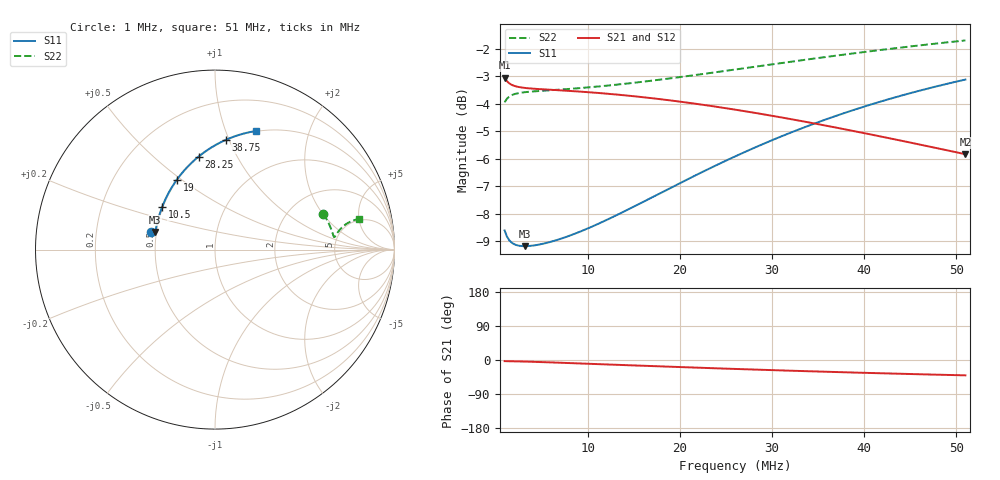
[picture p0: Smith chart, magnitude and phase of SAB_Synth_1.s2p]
# MHz S RI R 50
! S-Parameters data
! Freq  reS11  imS11  reS21  imS21  reS12  imS12  reS22  imS22
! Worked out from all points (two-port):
!   201 points, 1 MHz to 51 MHz, reference 50 ohm
!   highest |S21| = -3.05 dB at 1 MHz (marker M1); lowest = -5.8 dB at 51 MHz (marker M2)
!   |S21| within 3 dB of the highest: start of sweep to end of sweep
!   lowest |S11| = -9.2 dB at 3.25 MHz (marker M3), VSWR 2.07, Z = 24.6 + j5.52 ohm
!   |S11| at or under -10 dB: nowhere
!   |S22| runs from -3.9 to -1.7 dB; largest |S21 - S12| = 0
!   S11 on the Smith chart (normalised r, x): 1 MHz: 0.46, +0.11; 10.5 MHz: 0.49, +0.27; 19 MHz: 0.49, +0.48; 28.25 MHz: 0.50, +0.71; 38.75 MHz: 0.50, +0.97; 51 MHz: 0.50, +1.28
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1  -0.3581 0.099  0.7029 -0.0371  0.7029 -0.0371  0.6032 0.1985
1.25  -0.3504 0.0919  0.6927 -0.0388  0.6927 -0.0388  0.6223 0.168
1.5  -0.3456 0.0881  0.6864 -0.0396  0.6864 -0.0396  0.6338 0.146
1.75  -0.3424 0.0866  0.6823 -0.0403  0.6823 -0.0403  0.6411 0.1296
2  -0.3401 0.0867  0.6795 -0.0412  0.6795 -0.0412  0.6462 0.1171
2.5  -0.3369 0.0898  0.6758 -0.0436  0.6758 -0.0436  0.6523 0.0998
3.25  -0.3335 0.0987  0.6725 -0.0488  0.6725 -0.0488  0.6572 0.0848
4.25  -0.3297 0.1147  0.6696 -0.0571  0.6696 -0.0571  0.6607 0.075
5.5  -0.3246 0.1374  0.6664 -0.0687  0.6664 -0.0687  0.6634 0.0704
9.5  -0.3023 0.2158  0.6547 -0.1083  0.6547 -0.1083  0.6704 0.0752
10.5  -0.2952 0.2355  0.6511 -0.1182  0.6511 -0.1182  0.6724 0.0782
14  -0.2657 0.3023  0.6362 -0.1518  0.6362 -0.1518  0.6801 0.0904
17.75  -0.227 0.3688  0.6166 -0.1852  0.6166 -0.1852  0.69 0.1042
19  -0.2127 0.3895  0.6095 -0.1957  0.6095 -0.1957  0.6936 0.1087
22.5  -0.1696 0.4435  0.5878 -0.2228  0.5878 -0.2228  0.7045 0.1208
26  -0.1229 0.4912  0.5643 -0.2468  0.5643 -0.2468  0.7163 0.1316
28.25  -0.0916 0.5183  0.5486 -0.2604  0.5486 -0.2604  0.7243 0.1379
34.5  -0.00192 0.5801  0.5035 -0.2914  0.5035 -0.2914  0.7469 0.1522
38.75  0.0594 0.6112  0.4727 -0.3071  0.4727 -0.3071  0.7625 0.1594
42.75  0.1161 0.6334  0.4442 -0.3182  0.4442 -0.3182  0.7768 0.1646
46.75  0.171 0.6494  0.4166 -0.3263  0.4166 -0.3263  0.7906 0.1682
51  0.2267 0.6607  0.3886 -0.332  0.3886 -0.332  0.8047 0.1707
